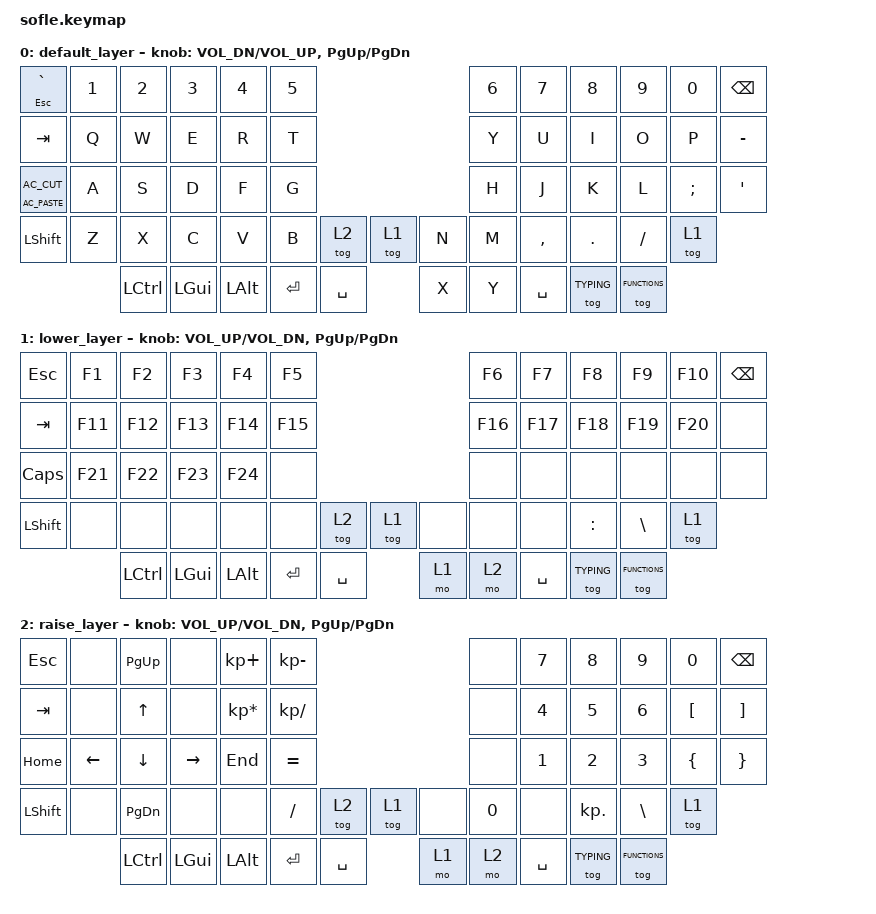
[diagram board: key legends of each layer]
/*
 * Copyright (c) 2020 The ZMK Contributors
 *
 * SPDX-License-Identifier: MIT
 * For FINAL CONFIG: sensor-bindings = <&inc_dec_kp C_VOL_UP C_VOL_DN>;
 * For Bluetooth: #include <dt-bindings/zmk/outputs.h>
 * Use "&out OUT_TOG" to cycle through typing via bluetooth vs via USB when plugged into random power source. 
 */

#include <behaviors.dtsi>
#include <dt-bindings/zmk/keys.h>
#include <dt-bindings/zmk/bt.h>
#include <dt-bindings/zmk/outputs.h>

#define TYPING 0
#define NUMBERS 1
#define FUNCTIONS 2


/ {
    keymap {
        compatible = "zmk,keymap";

        default_layer {
// .----------------------------------------.														.--------------------------------------------------.
// |  ESC `|  1  |  2  |  3   |  4   |  5   |														|  6  	 |  7    |  8   |  9   |   0   | Backspace |
// |  TAB  |  Q  |  W  |  E   |  R   |  T   |														|  Y  	 |  U    |  I   |  O   |   P   |     -     |
// |  C&P  |  A  |  S  |  D   |  F   |  G   |-------.										.-------|  H  	 |  J    |  K   |  L   |   ;   |     "     |
// | SHIFT |  Z  |  X  |  C   |  V   |  B   | Mute  |										| PSCRN |  N  	 |  M    |  ,   |  .   |   ?   |   SHIFT   |
// .-------------|CTRL | GUI  | ALT	 | SPACE| Enter |										| Enter | Space  | ###	 | KEYS | FNs  |-------------------.
            bindings = <
&mt ESC GRAVE 		  		&kp N1	&kp N2		&kp N3	 &kp N4		&kp N5								&kp N6		&kp N7			&kp N8			&kp N9			&kp N0			&kp BSPC
&kp TAB   			  		&kp Q	&kp W		&kp E	 &kp R		&kp T								&kp Y		&kp U			&kp I			&kp O			&kp P			&kp MINUS
&mt C_AC_PASTE C_AC_CUT		&kp A	&kp S		&kp D	 &kp F		&kp G								&kp H		&kp J			&kp K			&kp L			&kp SEMICOLON	&kp SINGLE_QUOTE
&kp LSHFT             		&kp Z	&kp X		&kp C	 &kp V		&kp B	&tog 2		&tog 1	&kp N		&kp M			&kp COMMA		&kp PERIOD		&kp SLASH		&tog 1
									&kp LCTRL	&kp LGUI &kp LALT	&kp ENTER	&kp SPACE		&kp X 		&kp Y		&kp SPACE		&tog TYPING		&tog FUNCTIONS
            >;
			sensor-bindings = <&inc_dec_kp C_VOL_DN C_VOL_UP &inc_dec_kp PG_UP PG_DN>;
        }; 
		
		
        lower_layer {
// TODO: Some binds are waiting for shifted keycode support.
// .----------------------------------------.													
// | ESC   | F1  | F2  | F3   | F4   |  F5  |													|  F6   |  F7   |  F8   |  F9   |  F10  | Backspace |
// | TAB   | F11 | F12 | F13  | F14  |  F15 |													|  F16  |  F17  |  F18  |  F19  |  F20  |			|
// | CAPS  | F21 | F22 | F23  | F24  |      |-------.									.-------|      	|       |       |       |       |			|
// | SHIFT |     |     |      |      |      | Mute  |									| PSCRN |       |       |       |       |       |	RSHIFT	|
// .-------------|CTRL | GUI  | ALT	 | SPACE| Enter |									| Enter | Space | ###	 | KEYS |  FNs  |-------------------.
            bindings = <
				
&kp ESC     &kp F1    &kp F2    &kp F3		&kp F4		&kp F5										&kp F6		&kp F7   	&kp F8			&kp F9		&kp F10		&kp BSPC
&kp TAB     &kp F11   &kp F12   &kp F13		&kp F14		&kp F15										&kp F16		&kp F17   	&kp F18			&kp F19		&kp F20		&none
&kp CAPS	&kp F21   &kp F22   &kp F23		&kp F24		&none										&none		&none	 	&none			&none		&none		&none
&kp LSHIFT  &none     &none     &none		&none		&none		&tog 2			&tog 1	&none		&none 		&none			&kp COLON	&kp BSLH	&tog 1
                      &kp LCTRL	&kp LGUI 	&kp LALT	&kp ENTER		&kp SPACE		&mo 1 &mo 2	&kp SPACE	&tog TYPING		&tog FUNCTIONS
            >;
            sensor-bindings = <&inc_dec_kp C_VOL_UP C_VOL_DN &inc_dec_kp PG_UP PG_DN>;
        };

        raise_layer {
// .-------------------------------------------.															.-----------------------------------------------.
// | ESC |       | PG UP|       |  + 	| -	   |         											        |      |  7   |  8   |  9   |   0   | Backspace |
// | TAB |       |   ^  |       |  *    | /    |         											        | 	   |  4   |  5   |  6   |   [   |    ]      |
// | HOME| <--   |   v  |  -->  | END   | =    |-------. 											.-------|  	   |  1   |  2   |  3   |   {   |    }      |
// |SHIFT|       | PG DN|       |       | / ?  | Mute  | 											| PSCRN |      |  0   |  ,   |  .   |   \   | RSHIFT    |
// .-------------| CTRL |  GUI  | ALT   |SPACE | Enter | 											| Enter | Space| ###  | KEYS | FNs  |-------------------.
            bindings = <
&kp ESC 	  &none    &kp PAGE_UP		&none		&kp KP_PLUS		&kp KP_MINUS    								&none     	&kp N7			&kp N8		&kp N9			&kp N0  			&kp BSPC
&kp TAB       &none    &kp UP			&none		&kp KP_MULTIPLY &kp KP_DIVIDE   								&none 		&kp N4			&kp N5		&kp N6			&kp LEFT_BRACKET	&kp RIGHT_BRACKET
&kp HOME      &kp LEFT &kp DOWN			&kp RIGHT	&kp END			&kp EQUAL										&none 		&kp N1			&kp N2		&kp N3			&kp LEFT_BRACE 		&kp RIGHT_BRACE
&kp LSHIFT    &none    &kp PAGE_DOWN	&none		&none			&kp SLASH	&tog 2				&tog 1			&none    	&kp N0			&none		&kp KP_DOT		&kp BACKSLASH 		&tog 1
					   &kp LCTRL 		&kp LGUI	&kp LALT		&kp ENTER	&kp SPACE			&mo 1 &mo 2		&kp SPACE	&tog TYPING		&tog FUNCTIONS
            >;
            sensor-bindings = <&inc_dec_kp C_VOL_UP C_VOL_DN &inc_dec_kp PG_UP PG_DN>;
        };

    };
};


// Right hand side SHOULD be:  &kp ENTER	&kp SPACE	&tog NUMBERS	&tog TYPING	&tog FUNCTIONS
// &mo NUMBERS &mo FUNCTIONS	&kp SPACE	&tog TYPING		&tog FUNCTIONS
'''''-----------------------''''''''''---------------------------''''''----097244097244097244

